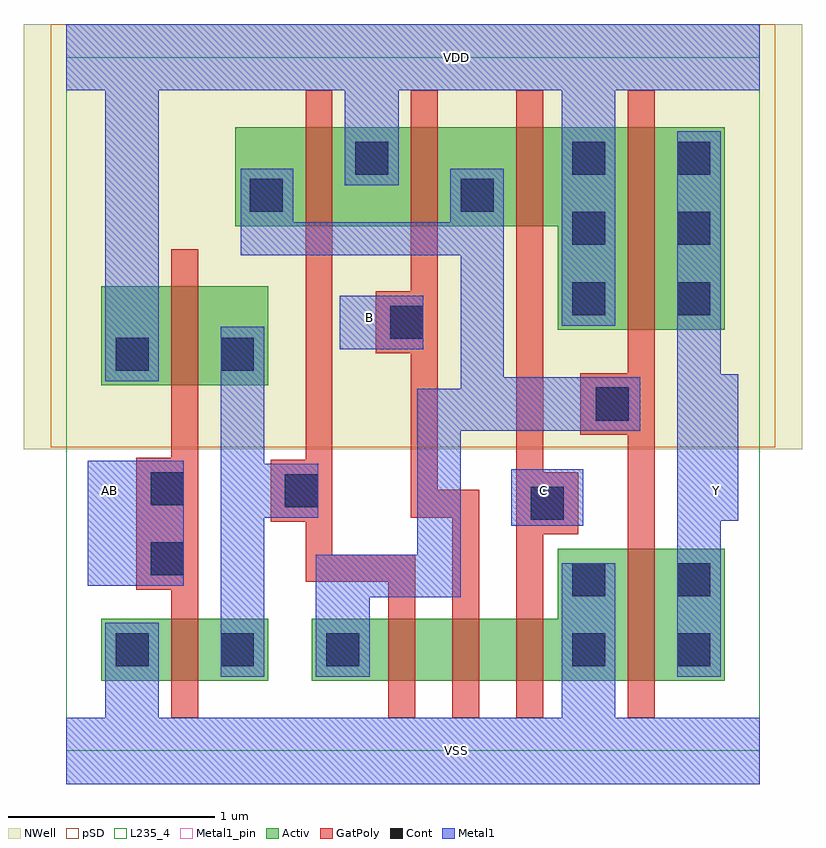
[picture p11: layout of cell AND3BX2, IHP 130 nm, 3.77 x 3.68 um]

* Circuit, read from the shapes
.subckt AND3BX2 AB B C VDD VSS Y
XM1 n1 AB VSS VSUBS sg13_lv_nmos w=0.3u l=0.13u
XM2 n2 n1 n3 VSUBS sg13_lv_nmos w=0.3u l=0.13u
XM3 n4 B n2 VSUBS sg13_lv_nmos w=0.3u l=0.13u
XM4 VSS C n4 VSUBS sg13_lv_nmos w=0.3u l=0.13u
XM5 Y n3 VSS VSUBS sg13_lv_nmos w=0.64u l=0.13u
XM6 n1 AB VDD n5 sg13_lv_pmos w=0.48u l=0.13u
XM7 VDD n1 n3 n5 sg13_lv_pmos w=0.48u l=0.13u
XM8 n3 B VDD n5 sg13_lv_pmos w=0.48u l=0.13u
XM9 VDD C n3 n5 sg13_lv_pmos w=0.48u l=0.13u
XM10 Y n3 VDD n5 sg13_lv_pmos w=0.98u l=0.13u
.ends

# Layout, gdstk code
import gdstk
lib = gdstk.Library(unit=1e-6, precision=1e-09)
def R(c, l, rs):  # rectangles x0, y0, x1, y1
    for r in rs: c.add(gdstk.rectangle(r[:2], r[2:], *l))
def A(c, l, x, y, w, h, nx, ny, dx, dy):  # array of equal rectangles
    R(c, l, [(x+i*dx, y+j*dy, x+i*dx+w, y+j*dy+h) for i in range(nx) for j in range(ny)])
def P(c, l, *ps):  # polygons
    for p in ps: c.add(gdstk.Polygon(p, *l))
Activ = (1, 0)
GatPoly = (5, 0)
Cont = (6, 0)
Metal1 = (8, 0)
Metal1_pin = (8, 2)
pSD = (14, 0)
NWell = (31, 0)
L235_4 = (235, 4)

and3bx2 = lib.new_cell('AND3BX2')
R(and3bx2, Activ, [(0.17,0.34,0.98,0.64), (0.17,1.77,0.98,2.25)])
P(and3bx2, Activ, [(3.19,0.98),(2.38,0.98),(2.38,0.64),(1.19,0.64),(1.19,0.34),(3.19,0.34)],
  [(3.19,3.02),(0.82,3.02),(0.82,2.54),(2.38,2.54),(2.38,2.04),(3.19,2.04)])
P(and3bx2, GatPoly, [(2,1.265),(1.8,1.265),(1.8,3.2),(1.67,3.2),(1.67,2.225),(1.5,2.225),(1.5,1.925),(1.67,1.925),(1.67,1.13),(1.87,1.13),(1.87,0.16),(2,0.16)],
  [(0.64,2.43),(0.51,2.43),(0.51,1.42),(0.34,1.42),(0.34,0.78),(0.51,0.78),(0.51,0.16),(0.64,0.16)],
  [(2.48,1.35),(2.31,1.35),(2.31,3.2),(2.18,3.2),(2.18,0.16),(2.31,0.16),(2.31,1.05),(2.48,1.05)],
  [(2.85,3.2),(2.72,3.2),(2.72,1.83),(2.49,1.83),(2.49,1.53),(2.72,1.53),(2.72,0.16),(2.85,0.16)],
  [(1.69,0.95),(1.29,0.95),(1.29,3.2),(1.16,3.2),(1.16,1.41),(0.99,1.41),(0.99,1.11),(1.16,1.11),(1.16,0.82),(1.56,0.82),(1.56,0.16),(1.69,0.16)])
A(and3bx2, Cont, 0.24, 0.41, 0.16, 0.16, 3, 1, 0.51, 0)
A(and3bx2, Cont, 2.45, 2.11, 0.16, 0.16, 1, 3, 0, 0.34)
A(and3bx2, Cont, 2.96, 2.11, 0.16, 0.16, 1, 3, 0, 0.34)
R(and3bx2, Cont, [(2.45,0.41,2.61,0.57), (2.96,0.41,3.12,0.57), (2.45,0.75,2.61,0.91), (2.96,0.75,3.12,0.91), (0.41,0.85,0.57,1.01), (2.25,1.12,2.41,1.28), (1.06,1.18,1.22,1.34), (0.41,1.19,0.57,1.35), (2.565,1.6,2.725,1.76), (0.24,1.84,0.4,2), (0.75,1.84,0.91,2), (1.57,1.995,1.73,2.155), (0.89,2.61,1.05,2.77), (1.91,2.61,2.07,2.77), (1.4,2.79,1.56,2.95)])
R(and3bx2, Metal1, [(0,-0.16,3.36,0.16), (0.105,0.8,0.57,1.405), (2.155,1.09,2.505,1.365), (1.325,1.945,1.73,2.205), (0,3.2,3.36,3.52)])
P(and3bx2, Metal1, [(3.36,0.16),(2.66,0.16),(2.66,0.91),(2.4,0.91),(2.4,0.16),(0.45,0.16),(0.45,0.62),(0.19,0.62),(0.19,0.16),(0,0.16),(0,-0.16),(3.36,-0.16)],
  [(3.36,3.52),(0,3.52),(0,3.2),(0.19,3.2),(0.19,1.79),(0.45,1.79),(0.45,3.2),(1.35,3.2),(1.35,2.74),(1.61,2.74),(1.61,3.2),(2.4,3.2),(2.4,2.06),(2.66,2.06),(2.66,3.2),(3.36,3.2)],
  [(3.255,1.825),(3.17,1.825),(3.17,3),(2.96,3),(2.96,0.36),(3.17,0.36),(3.17,1.115),(3.255,1.115)],
  [(2.78,1.81),(2.12,1.81),(2.12,2.82),(1.86,2.82),(1.86,2.56),(1.1,2.56),(1.1,2.82),(0.845,2.82),(0.845,2.4),(1.91,2.4),(1.91,1.755),(1.7,1.755),(1.7,0.95),(1.21,0.95),(1.21,0.36),(1.47,0.36),(1.47,0.745),(1.91,0.745),(1.91,1.55),(2.78,1.55)],
  [(1.22,1.39),(0.96,1.39),(0.96,2.055),(0.75,2.055),(0.75,0.36),(0.96,0.36),(0.96,1.13),(1.22,1.13)])
R(and3bx2, Metal1_pin, [(0.105,0.8,0.57,1.405), (2.155,1.09,2.505,1.365), (2.96,1.115,3.255,1.825), (1.325,1.945,1.73,2.205)])
P(and3bx2, Metal1_pin, [(3.36,3.52),(0,3.52),(0,3.2),(0.19,3.2),(0.19,1.79),(0.45,1.79),(0.45,3.2),(1.35,3.2),(1.35,2.74),(1.61,2.74),(1.61,3.2),(2.4,3.2),(2.4,2.06),(2.66,2.06),(2.66,3.2),(3.36,3.2)],
  [(3.36,0.16),(2.66,0.16),(2.66,0.91),(2.4,0.91),(2.4,0.16),(0.45,0.16),(0.45,0.62),(0.19,0.62),(0.19,0.16),(0,0.16),(0,-0.16),(3.36,-0.16)],
  [(3.255,1.825),(3.17,1.825),(3.17,3),(2.96,3),(2.96,0.36),(3.17,0.36),(3.17,1.115),(3.255,1.115)])
R(and3bx2, pSD, [(-0.075,1.47,3.435,3.52)])
R(and3bx2, NWell, [(-0.205,1.46,3.565,3.52)])
R(and3bx2, L235_4, [(0,0,3.36,3.36)])
and3bx2.add(gdstk.Label('Y', (3.15,1.26), layer=8, texttype=25))
and3bx2.add(gdstk.Label('C', (2.31,1.26), layer=8, texttype=25))
and3bx2.add(gdstk.Label('VSS', (1.89,0), layer=8, texttype=25))
and3bx2.add(gdstk.Label('VDD', (1.89,3.36), layer=8, texttype=25))
and3bx2.add(gdstk.Label('AB', (0.21,1.26), layer=8, texttype=25))
and3bx2.add(gdstk.Label('B', (1.47,2.1), layer=8, texttype=25))

lib.write_gds('AND3BX2.gds')
